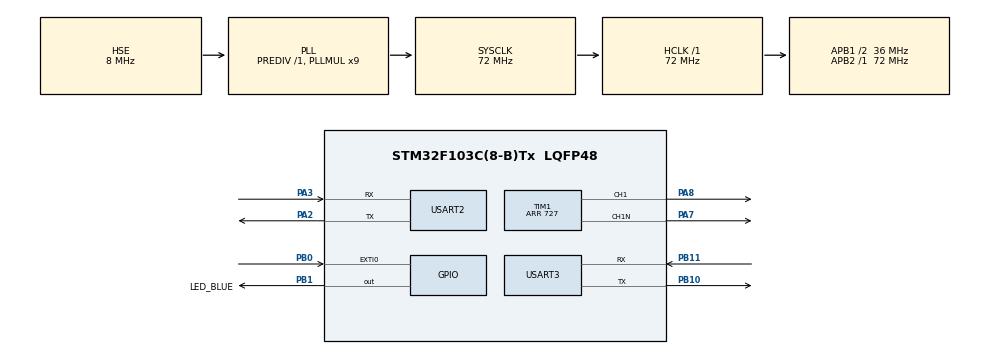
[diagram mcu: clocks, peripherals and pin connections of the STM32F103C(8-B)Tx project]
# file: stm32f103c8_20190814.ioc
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FREERTOS.INCLUDE_eTaskGetState=1
FREERTOS.INCLUDE_pcTaskGetTaskName=1
FREERTOS.INCLUDE_vTaskDelayUntil=1
FREERTOS.INCLUDE_xQueueGetMutexHolder=1
FREERTOS.INCLUDE_xTaskGetCurrentTaskHandle=1
FREERTOS.INCLUDE_xTaskGetHandle=1
FREERTOS.Tasks01=defaultTask,0,128,StartDefaultTask,Default,NULL,Dynamic,NULL,NULL
FREERTOS.configTOTAL_HEAP_SIZE=12288
FREERTOS.configUSE_COUNTING_SEMAPHORES=1
FREERTOS.configUSE_STATS_FORMATTING_FUNCTIONS=1
FREERTOS.configUSE_TIMERS=1
FREERTOS.configUSE_TRACE_FACILITY=1
Mcu.Family=STM32F1
Mcu.Name=STM32F103C(8-B)Tx
Mcu.Package=LQFP48
NVIC.EXTI0_IRQn=true\:3\:0\:true\:false\:true\:false\:true\:true
NVIC.PriorityGroup=NVIC_PRIORITYGROUP_4
NVIC.TIM3_IRQn=true\:0\:0\:false\:false\:true\:false\:false\:true
NVIC.TimeBase=TIM3_IRQn
NVIC.TimeBaseIP=TIM3
NVIC.USART2_IRQn=true\:7\:0\:true\:false\:true\:true\:true\:true
NVIC.USART3_IRQn=true\:5\:0\:true\:false\:true\:false\:true\:true
PA2.Mode=Asynchronous
PA2.Signal=USART2_TX
PA3.Mode=Asynchronous
PA3.Signal=USART2_RX
PA7.GPIO_Speed=GPIO_SPEED_FREQ_HIGH
PA7.Mode=PWM Generation1 CH1 CH1N
PA7.Signal=TIM1_CH1N
PA8.GPIO_Speed=GPIO_SPEED_FREQ_HIGH
PA8.Signal=S_TIM1_CH1
PB0.GPIO_ModeDefaultEXTI=GPIO_MODE_IT_RISING
PB0.GPIO_PuPd=GPIO_NOPULL
PB0.Signal=GPXTI0
PB1.GPIO_Label=LED_BLUE
PB1.GPIO_PuPd=GPIO_PULLUP
PB1.GPIO_Speed=GPIO_SPEED_FREQ_HIGH
PB1.PinState=GPIO_PIN_SET
PB1.Signal=GPIO_Output
PB10.Mode=Asynchronous
PB10.Signal=USART3_TX
PB11.Mode=Asynchronous
PB11.Signal=USART3_RX
PC14-OSC32_IN.Mode=LSE-External-Oscillator
PC14-OSC32_IN.Signal=RCC_OSC32_IN
PC15-OSC32_OUT.Mode=LSE-External-Oscillator
PC15-OSC32_OUT.Signal=RCC_OSC32_OUT
PD0-OSC_IN.Mode=HSE-External-Oscillator
PD0-OSC_IN.Signal=RCC_OSC_IN
PD1-OSC_OUT.Mode=HSE-External-Oscillator
PD1-OSC_OUT.Signal=RCC_OSC_OUT
ProjectManager.HeapSize=0x200
ProjectManager.StackSize=0x400
ProjectManager.TargetToolchain=MDK-ARM V5
RCC.ADCPresc=RCC_ADCPCLK2_DIV8
RCC.AHBFreq_Value=72000000
RCC.APB1CLKDivider=RCC_HCLK_DIV2
RCC.APB1Freq_Value=36000000
RCC.APB1TimFreq_Value=72000000
RCC.APB2Freq_Value=72000000
RCC.APB2TimFreq_Value=72000000
RCC.HCLKFreq_Value=72000000
RCC.PLLMUL=RCC_PLL_MUL9
RCC.PLLSourceVirtual=RCC_PLLSOURCE_HSE
RCC.SYSCLKFreq_VALUE=72000000
RCC.SYSCLKSource=RCC_SYSCLKSOURCE_PLLCLK
RCC.USBFreq_Value=72000000
SH.S_TIM1_CH1.0=TIM1_CH1,PWM Generation1 CH1 CH1N
TIM1.Channel-PWM\ Generation1\ CH1\ CH1N=TIM_CHANNEL_1
TIM1.DeadTime=0
TIM1.OCFastMode_PWM-PWM\ Generation1\ CH1\ CH1N=TIM_OCFAST_ENABLE
TIM1.Period=727
TIM1.Pulse-PWM\ Generation1\ CH1\ CH1N=16
TIM1.TIM_MasterOutputTrigger=TIM_TRGO_UPDATE
USART2.VirtualMode=VM_ASYNC
USART3.VirtualMode=VM_ASYNC
VP_FREERTOS_VS_CMSIS_V1.Mode=CMSIS_V1
VP_SYS_VS_ND.Mode=No_Debug
VP_SYS_VS_tim3.Mode=TIM3
VP_TIM1_VS_ClockSourceINT.Mode=Internal
board=custom

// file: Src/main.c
/* USER CODE BEGIN Header */
/**
  ******************************************************************************
  * @file           : main.c
  * @brief          : Main program body
  ******************************************************************************
  * @attention
  *
  * <h2><center>&copy; Copyright (c) 2019 STMicroelectronics.
  * All rights reserved.</center></h2>
  *
  * This software component is licensed by ST under BSD 3-Clause license,
  * the "License"; You may not use this file except in compliance with the
  * License. You may obtain a copy of the License at:
  *                        opensource.org/licenses/BSD-3-Clause
  *
  ******************************************************************************
  */
/* USER CODE END Header */

#include "main.h"
#include "cmsis_os.h"

TIM_HandleTypeDef htim1;

UART_HandleTypeDef huart2;
UART_HandleTypeDef huart3;

osThreadId defaultTaskHandle;
/* USER CODE BEGIN PV */
#include "inc_pid_controller.h"
typedef enum
{
	DOT_NOTHING,
	UP,
	DOWN,
	UP_CONTINU,
	DOWN_CONTINU
}KEY_ACTION;
KEY_ACTION myKeyActiion = DOT_NOTHING;
typedef enum
{
		KEY_NOT,
		KEY_PRESSED,
		KEY_CONTINU,
		KEY_RELEASED
}KEY_STATUS_t;
typedef void (*func)(void);
typedef struct{
	KEY_STATUS_t 	status;
	func 			key_pressed_handle;
	func 			key_relased_handle;
	func 			key_contuinu_handle;
	uint8_t 		key_value;
	uint32_t 		key_into_continu;
	uint16_t		key_into_continu_trigger_count;
	uint16_t		key_continu_interval;
}key_t;
void key_prosser_handle(key_t *key)
{
	if( (key->key_value != 0) && (key->status == KEY_NOT ) )
	{
		return;
	}
	switch(key->status)
	{
		case KEY_NOT:
			if(!key->key_value)
			{
				key->status = KEY_PRESSED;
			}
			else
			{
				key->status = KEY_NOT;
				key->key_into_continu = 0;
			}
			break;

		case KEY_PRESSED:
			if(!key->key_value)
			{
				key->key_into_continu++;
				if( (key->key_pressed_handle != NULL) && (key->key_into_continu < 2) )
				{
					key->key_pressed_handle();
				}

				if(key->key_into_continu > key->key_into_continu_trigger_count) key->status = KEY_CONTINU;

			}
			else
			{
				key->status = KEY_RELEASED;
			}
			break;

		case KEY_CONTINU:
			if(!key->key_value)
			{
				key->key_into_continu++;
				if( !(key->key_into_continu % key->key_continu_interval) )
				{
					if(key->key_contuinu_handle != NULL) key->key_contuinu_handle();
				}
			}
			else
			{
				key->key_into_continu = 0;
				key->status = KEY_NOT;
			}
			break;

		case KEY_RELEASED:
			if(key->key_value)
			{
				if(key->key_relased_handle != NULL) key->key_relased_handle();
			}
			key->status = KEY_NOT;
			key->key_into_continu = 0;
			break;

		default:
			key->status = KEY_NOT;
			key->key_into_continu = 0;
			break;
	}
}

/* USER CODE END PV */

void SystemClock_Config(void);
static void MX_GPIO_Init(void);
static void MX_TIM1_Init(void);
static void MX_USART3_UART_Init(void);
static void MX_USART2_UART_Init(void);
void StartDefaultTask(void const * argument);

/* USER CODE BEGIN PFP */
//printf 打印函数，重新定向！定向指向pb2 swo这条gpio口，就可以利用ST-Link Utility来查看打印内容
#include <stdio.h>
#define ITM_Port8(n) 	( *( (volatile unsigned char *)( 0xE0000000 + 4*n ) ) )
#define ITM_Port16(n) 	( *( (volatile unsigned short *)( 0xE0000000 + 4*n ) ) )
#define ITM_Port32(n) 	( *( (volatile unsigned long *)( 0xE0000000 + 4*n ) ) )

#define DEMCR 			( *( (volatile unsigned long *)( 0xE000EDFC ) ) )
#define TRCENA 			0x01000000

struct __FILE { int handle; /* Add whatever needed */ };
FILE __stdout;
FILE __stdin;

int fputc(int ch, FILE *f) {
	/*
		if (DEMCR & TRCENA) {
			while (ITM_Port32(0) == 0);
			ITM_Port8(0) = ch;
		}
	*/
	//HAL_UART_Transmit(&huart1,(uint8_t*)ch,1,0xFFFF);
	//HAL_UART_Transmit_IT(&huart1,(uint8_t *)ch,1);
	/*上面二句都不能正常显示，下面三行能正常显示！*/
	while((USART2->SR&0X40)==0){}
    USART2->DR = (uint8_t) ch;
	return(ch);
}
/* USER CODE END PFP */

/* USER CODE BEGIN 0 */
uint32_t myADC[2]={0};
static uint16_t ble_connect_flag = 0;
uint8_t RxData[100]={0};
uint8_t Index = 0;
uint8_t arr = 0;
uint8_t uart2_arr = 0;
inc_pid_controller_t pMyPID = NULL;
#include "FreeRTOS_CLI.h"
#include "serial.h"
#include "pwm_ctr.h"
vol_cur_t *pData = NULL;

/* USER CODE END 0 */

int main(void)
{

  /* MCU Configuration--------------------------------------------------------*/

  /* Reset of all peripherals, Initializes the Flash interface and the Systick. */
  HAL_Init();

  /* Configure the system clock */
  SystemClock_Config();

  /* Initialize all configured peripherals */
  MX_GPIO_Init();
  MX_TIM1_Init();
  MX_USART3_UART_Init();
  MX_USART2_UART_Init();
  /* USER CODE BEGIN 2 */

  HAL_TIM_PWM_Start(&htim1, TIM_CHANNEL_1);
  HAL_TIMEx_PWMN_Start(&htim1, TIM_CHANNEL_1);
  HAL_UART_Receive_IT(&huart3,(uint8_t*)&arr,1);
  HAL_UART_Receive_IT(&huart2,(uint8_t*)&uart2_arr,1);
	//初始化pid
	//pMyPID = inc_pid_controller_create( 0.6f, 0.1f, 0, 20 );
	pMyPID = inc_pid_controller_create( MYP, MYI, MYD, 30 );
	pMyPID->controller.target = TARGETVOL;
	pMyPID->maximum = TIM1_PERIOD_MIN;//TIM1_PERIOD_MIN (768UL) --> 83.3KHz 640/0.833 = 768,作用：加大功率！
	pMyPID->minimum = TIM1_PERIOD_MAX;//TIM1_PERIOD_MAX (727UL) //88KHz 640/0.88 = 727，作用，减小功率！
	pMyPID->controller.enable = 1;

  /* USER CODE END 2 */

  /* Create the thread(s) */
  /* definition and creation of defaultTask */
  osThreadDef(defaultTask, StartDefaultTask, osPriorityNormal, 0, 128);
  defaultTaskHandle = osThreadCreate(osThread(defaultTask), NULL);

  /* Start scheduler */
  osKernelStart();

  /* We should never get here as control is now taken by the scheduler */

  /* Infinite loop */
  while (1)
  {

  }
}

void SystemClock_Config(void)
{
  RCC_OscInitTypeDef RCC_OscInitStruct = {0};
  RCC_ClkInitTypeDef RCC_ClkInitStruct = {0};

  /** Initializes the CPU, AHB and APB busses clocks
  */
  RCC_OscInitStruct.OscillatorType = RCC_OSCILLATORTYPE_HSE;
  RCC_OscInitStruct.HSEState = RCC_HSE_ON;
  RCC_OscInitStruct.HSEPredivValue = RCC_HSE_PREDIV_DIV1;
  RCC_OscInitStruct.HSIState = RCC_HSI_ON;
  RCC_OscInitStruct.PLL.PLLState = RCC_PLL_ON;
  RCC_OscInitStruct.PLL.PLLSource = RCC_PLLSOURCE_HSE;
  RCC_OscInitStruct.PLL.PLLMUL = RCC_PLL_MUL9;
  if (HAL_RCC_OscConfig(&RCC_OscInitStruct) != HAL_OK)
  {
    Error_Handler();
  }
  /** Initializes the CPU, AHB and APB busses clocks
  */
  RCC_ClkInitStruct.ClockType = RCC_CLOCKTYPE_HCLK|RCC_CLOCKTYPE_SYSCLK
                              |RCC_CLOCKTYPE_PCLK1|RCC_CLOCKTYPE_PCLK2;
  RCC_ClkInitStruct.SYSCLKSource = RCC_SYSCLKSOURCE_PLLCLK;
  RCC_ClkInitStruct.AHBCLKDivider = RCC_SYSCLK_DIV1;
  RCC_ClkInitStruct.APB1CLKDivider = RCC_HCLK_DIV2;
  RCC_ClkInitStruct.APB2CLKDivider = RCC_HCLK_DIV1;

  if (HAL_RCC_ClockConfig(&RCC_ClkInitStruct, FLASH_LATENCY_2) != HAL_OK)
  {
    Error_Handler();
  }
}

static void MX_TIM1_Init(void)
{

  TIM_ClockConfigTypeDef sClockSourceConfig = {0};
  TIM_MasterConfigTypeDef sMasterConfig = {0};
  TIM_OC_InitTypeDef sConfigOC = {0};
  TIM_BreakDeadTimeConfigTypeDef sBreakDeadTimeConfig = {0};

  htim1.Instance = TIM1;
  htim1.Init.Prescaler = 0;
  htim1.Init.CounterMode = TIM_COUNTERMODE_UP;
  htim1.Init.Period = 727;
  htim1.Init.ClockDivision = TIM_CLOCKDIVISION_DIV1;
  htim1.Init.RepetitionCounter = 0;
  htim1.Init.AutoReloadPreload = TIM_AUTORELOAD_PRELOAD_DISABLE;
  if (HAL_TIM_Base_Init(&htim1) != HAL_OK)
  {
    Error_Handler();
  }
  sClockSourceConfig.ClockSource = TIM_CLOCKSOURCE_INTERNAL;
  if (HAL_TIM_ConfigClockSource(&htim1, &sClockSourceConfig) != HAL_OK)
  {
    Error_Handler();
  }
  if (HAL_TIM_PWM_Init(&htim1) != HAL_OK)
  {
    Error_Handler();
  }
  sMasterConfig.MasterOutputTrigger = TIM_TRGO_UPDATE;
  sMasterConfig.MasterSlaveMode = TIM_MASTERSLAVEMODE_DISABLE;
  if (HAL_TIMEx_MasterConfigSynchronization(&htim1, &sMasterConfig) != HAL_OK)
  {
    Error_Handler();
  }
  sConfigOC.OCMode = TIM_OCMODE_PWM1;
  sConfigOC.Pulse = 16;
  sConfigOC.OCPolarity = TIM_OCPOLARITY_HIGH;
  sConfigOC.OCNPolarity = TIM_OCNPOLARITY_HIGH;
  sConfigOC.OCFastMode = TIM_OCFAST_ENABLE;
  sConfigOC.OCIdleState = TIM_OCIDLESTATE_RESET;
  sConfigOC.OCNIdleState = TIM_OCNIDLESTATE_RESET;
  if (HAL_TIM_PWM_ConfigChannel(&htim1, &sConfigOC, TIM_CHANNEL_1) != HAL_OK)
  {
    Error_Handler();
  }
  sBreakDeadTimeConfig.OffStateRunMode = TIM_OSSR_DISABLE;
  sBreakDeadTimeConfig.OffStateIDLEMode = TIM_OSSI_DISABLE;
  sBreakDeadTimeConfig.LockLevel = TIM_LOCKLEVEL_OFF;
  sBreakDeadTimeConfig.DeadTime = 0;
  sBreakDeadTimeConfig.BreakState = TIM_BREAK_DISABLE;
  sBreakDeadTimeConfig.BreakPolarity = TIM_BREAKPOLARITY_HIGH;
  sBreakDeadTimeConfig.AutomaticOutput = TIM_AUTOMATICOUTPUT_DISABLE;
  if (HAL_TIMEx_ConfigBreakDeadTime(&htim1, &sBreakDeadTimeConfig) != HAL_OK)
  {
    Error_Handler();
  }
  HAL_TIM_MspPostInit(&htim1);

}

static void MX_USART2_UART_Init(void)
{

  huart2.Instance = USART2;
  huart2.Init.BaudRate = 115200;
  huart2.Init.WordLength = UART_WORDLENGTH_8B;
  huart2.Init.StopBits = UART_STOPBITS_1;
  huart2.Init.Parity = UART_PARITY_NONE;
  huart2.Init.Mode = UART_MODE_TX_RX;
  huart2.Init.HwFlowCtl = UART_HWCONTROL_NONE;
  huart2.Init.OverSampling = UART_OVERSAMPLING_16;
  if (HAL_UART_Init(&huart2) != HAL_OK)
  {
    Error_Handler();
  }

}

static void MX_USART3_UART_Init(void)
{

  huart3.Instance = USART3;
  huart3.Init.BaudRate = 115200;
  huart3.Init.WordLength = UART_WORDLENGTH_8B;
  huart3.Init.StopBits = UART_STOPBITS_1;
  huart3.Init.Parity = UART_PARITY_NONE;
  huart3.Init.Mode = UART_MODE_TX_RX;
  huart3.Init.HwFlowCtl = UART_HWCONTROL_NONE;
  huart3.Init.OverSampling = UART_OVERSAMPLING_16;
  if (HAL_UART_Init(&huart3) != HAL_OK)
  {
    Error_Handler();
  }

}

static void MX_GPIO_Init(void)
{
  GPIO_InitTypeDef GPIO_InitStruct = {0};

  /* GPIO Ports Clock Enable */
  __HAL_RCC_GPIOC_CLK_ENABLE();
  __HAL_RCC_GPIOD_CLK_ENABLE();
  __HAL_RCC_GPIOA_CLK_ENABLE();
  __HAL_RCC_GPIOB_CLK_ENABLE();

  /*Configure GPIO pin Output Level */
  HAL_GPIO_WritePin(LED_BLUE_GPIO_Port, LED_BLUE_Pin, GPIO_PIN_SET);

  /*Configure GPIO pin : PB0 */
  GPIO_InitStruct.Pin = GPIO_PIN_0;
  GPIO_InitStruct.Mode = GPIO_MODE_IT_RISING;
  GPIO_InitStruct.Pull = GPIO_NOPULL;
  HAL_GPIO_Init(GPIOB, &GPIO_InitStruct);

  /*Configure GPIO pin : LED_BLUE_Pin */
  GPIO_InitStruct.Pin = LED_BLUE_Pin;
  GPIO_InitStruct.Mode = GPIO_MODE_OUTPUT_PP;
  GPIO_InitStruct.Pull = GPIO_PULLUP;
  GPIO_InitStruct.Speed = GPIO_SPEED_FREQ_HIGH;
  HAL_GPIO_Init(LED_BLUE_GPIO_Port, &GPIO_InitStruct);

  /* EXTI interrupt init*/
  HAL_NVIC_SetPriority(EXTI0_IRQn, 3, 0);
  HAL_NVIC_EnableIRQ(EXTI0_IRQn);

}

/* USER CODE BEGIN 4 */
void HAL_UART_TxCpltCallback  ( UART_HandleTypeDef *  huart )
{	//发送完成回调函数
	//HAL_GPIO_TogglePin(GPIOB,GPIO_PIN_0);
}

void HAL_UART_RxCpltCallback  ( UART_HandleTypeDef *  huart )
{
	BaseType_t xHigherPriorityTaskWoken = pdFALSE;

	//接收完成中断回调函数
	if(huart == &huart3)
	{ //实测接收快时３０ｍｓ，慢时６５ｍｓ
		//HAL_GPIO_TogglePin(LED_BLUE_GPIO_Port,LED_BLUE_Pin);
		RxData[Index]=arr; //接收中断发生，存储接收值
		Index++;

		if( RxData[Index -1] == '\r' || RxData[Index -1] == '\n' || Index >=20 )
		{

			if( Index == sizeof(vol_cur_t) ) //从机发过来的数据格式
			{
				/*
				特别注意：RxData在接收机串口发送到ble的数据流还正确，而给BLE rx端的串口接收到后，
				就变成最尾的一个字节跑到最前面来了，原因有待进一步查明，
				为了能正确读取数据流，这里特意加1！数据即能正确读取！！
				*/
				pData = (vol_cur_t *)(RxData + 1);

				vTaskNotifyGiveFromISR( defaultTaskHandle, &xHigherPriorityTaskWoken );
				portYIELD_FROM_ISR( xHigherPriorityTaskWoken );

			}
			Index = 0;//完成接收后，重新清0，开启下次的接收
		}
		ble_connect_flag = 1; //串口接收正常代表蓝牙连接正常
		HAL_UART_Receive_IT(huart, &arr, 1);//再次开启usart1接收中断

	}
}

void HAL_GPIO_EXTI_Callback(uint16_t GPIO_Pin)
{
	static uint16_t cnt = 0;
	if( GPIO_Pin == GPIO_PIN_0 ) //pb0产生中断信号，即tx端过压过载了
	{
		//立即将pwm 的频率调节到88khz
		pwm_set_standby();
		cnt++;
		if(cnt >= 10) //若最低功率还继续发生，则需要关闭pwm
		{
			cnt = 0;
			pwm_set_shutdown(); //关闭pwm
		}

	}
}
/* USER CODE END 4 */

void StartDefaultTask(void const * argument)
{

  /* USER CODE BEGIN 5 */
	uint32_t val = 0;
	const TickType_t xPeriod = pdMS_TO_TICKS( 75 );
//	float f = 0.0;
	vTaskDelay(500); //延时500ms才打开pwm
	pwm_set_start();

  /* Infinite loop */
  for(;;)
  {

	  val = ulTaskNotifyTake( pdFALSE, xPeriod );
	  if(val == 1) //正确原因的解除block;
	  {
		  if( pData != NULL )
		  {
			  pwm_ctr_handler( pData, pMyPID ); //调用相关处理
			  pData = NULL;
		 }
	  }
	  else //时间溢出
	  {
		  if(ble_connect_flag != 1) //若蓝牙连接不正常
		  {
			  HAL_GPIO_WritePin(LED_BLUE_GPIO_Port,LED_BLUE_Pin,GPIO_PIN_SET); //关闭LED
			  pwm_set_standby(); //蓝牙若连接不正常，PWM设为88KHz
		  }
		  else //若蓝牙连接正常
		  {
			  ble_connect_flag = 0;
			  HAL_GPIO_WritePin(LED_BLUE_GPIO_Port,LED_BLUE_Pin,GPIO_PIN_RESET); //亮LED

		  }
	  }

  }
  /* USER CODE END 5 */
}

void HAL_TIM_PeriodElapsedCallback(TIM_HandleTypeDef *htim)
{
  if (htim->Instance == TIM3) {
    HAL_IncTick();
  }
}

void Error_Handler(void)
{
}

/************************ (C) COPYRIGHT STMicroelectronics *****END OF FILE****/
